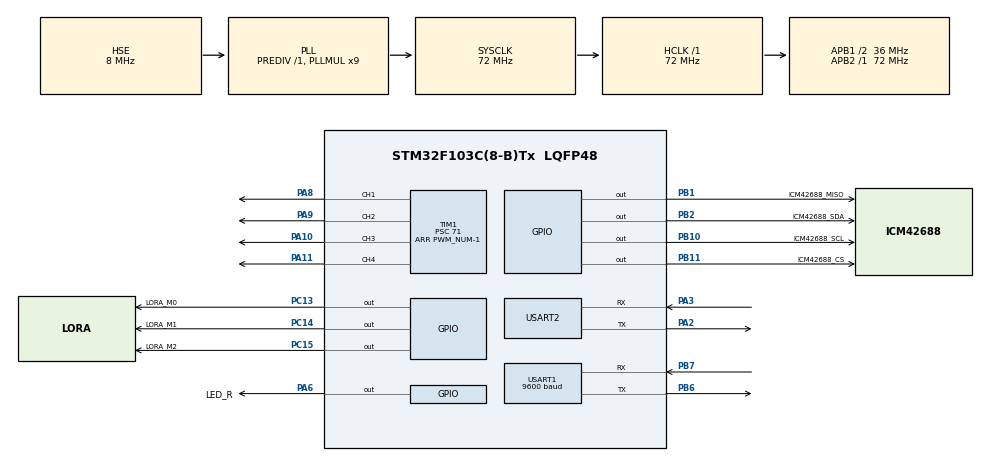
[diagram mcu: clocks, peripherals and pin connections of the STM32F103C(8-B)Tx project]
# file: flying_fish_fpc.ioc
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Dma.Request0=USART1_RX
Dma.USART1_RX.0.Direction=DMA_PERIPH_TO_MEMORY
Dma.USART1_RX.0.Instance=DMA1_Channel5
Dma.USART1_RX.0.MemDataAlignment=DMA_MDATAALIGN_BYTE
Dma.USART1_RX.0.MemInc=DMA_MINC_ENABLE
Dma.USART1_RX.0.Mode=DMA_CIRCULAR
Dma.USART1_RX.0.PeriphDataAlignment=DMA_PDATAALIGN_BYTE
Dma.USART1_RX.0.PeriphInc=DMA_PINC_DISABLE
Dma.USART1_RX.0.Priority=DMA_PRIORITY_MEDIUM
Mcu.Family=STM32F1
Mcu.Name=STM32F103C(8-B)Tx
Mcu.Package=LQFP48
Mcu.UserConstants=PWM_NUM,10000
NVIC.DMA1_Channel5_IRQn=true\:1\:0\:true\:false\:true\:false\:true\:true
NVIC.PriorityGroup=NVIC_PRIORITYGROUP_4
NVIC.TIM2_IRQn=true\:0\:0\:true\:false\:true\:true\:true\:true
NVIC.TIM3_IRQn=true\:2\:0\:true\:false\:true\:true\:true\:true
NVIC.USART1_IRQn=true\:0\:0\:false\:false\:true\:true\:true\:true
NVIC.USART2_IRQn=true\:0\:0\:false\:false\:true\:true\:true\:true
PA10.Signal=S_TIM1_CH3
PA11.Signal=S_TIM1_CH4
PA13.Mode=Serial_Wire
PA13.Signal=SYS_JTMS-SWDIO
PA14.Mode=Serial_Wire
PA14.Signal=SYS_JTCK-SWCLK
PA2.Mode=Asynchronous
PA2.Signal=USART2_TX
PA3.Mode=Asynchronous
PA3.Signal=USART2_RX
PA6.GPIO_Label=LED_R
PA6.Signal=GPIO_Output
PA8.Signal=S_TIM1_CH1
PA9.Signal=S_TIM1_CH2
PB1.GPIO_Label=ICM42688_MISO
PB1.GPIO_PuPd=GPIO_PULLUP
PB1.GPIO_Speed=GPIO_SPEED_FREQ_HIGH
PB1.PinState=GPIO_PIN_SET
PB1.Signal=GPIO_Output
PB10.GPIO_Label=ICM42688_SCL
PB10.GPIO_ModeDefaultOutputPP=GPIO_MODE_OUTPUT_PP
PB10.GPIO_PuPd=GPIO_PULLUP
PB10.GPIO_Speed=GPIO_SPEED_FREQ_HIGH
PB10.PinState=GPIO_PIN_SET
PB10.Signal=GPIO_Output
PB11.GPIO_Label=ICM42688_CS
PB11.GPIO_ModeDefaultOutputPP=GPIO_MODE_OUTPUT_PP
PB11.GPIO_PuPd=GPIO_PULLUP
PB11.GPIO_Speed=GPIO_SPEED_FREQ_HIGH
PB11.PinState=GPIO_PIN_SET
PB11.Signal=GPIO_Output
PB2.GPIO_Label=ICM42688_SDA
PB2.GPIO_PuPd=GPIO_PULLUP
PB2.GPIO_Speed=GPIO_SPEED_FREQ_HIGH
PB2.PinState=GPIO_PIN_SET
PB2.Signal=GPIO_Output
PB6.Mode=Asynchronous
PB6.Signal=USART1_TX
PB7.Mode=Asynchronous
PB7.Signal=USART1_RX
PC13-TAMPER-RTC.GPIO_Label=LORA_M0
PC13-TAMPER-RTC.Signal=GPIO_Output
PC14-OSC32_IN.GPIO_Label=LORA_M1
PC14-OSC32_IN.Signal=GPIO_Output
PC15-OSC32_OUT.GPIO_Label=LORA_M2
PC15-OSC32_OUT.Signal=GPIO_Output
PD0-OSC_IN.Mode=HSE-External-Oscillator
PD0-OSC_IN.Signal=RCC_OSC_IN
PD1-OSC_OUT.Mode=HSE-External-Oscillator
PD1-OSC_OUT.Signal=RCC_OSC_OUT
ProjectManager.HeapSize=0x200
ProjectManager.StackSize=0x400
ProjectManager.TargetToolchain=MDK-ARM V5.32
RCC.AHBFreq_Value=72000000
RCC.APB1CLKDivider=RCC_HCLK_DIV2
RCC.APB1Freq_Value=36000000
RCC.APB1TimFreq_Value=72000000
RCC.APB2Freq_Value=72000000
RCC.APB2TimFreq_Value=72000000
RCC.HCLKFreq_Value=72000000
RCC.PLLMUL=RCC_PLL_MUL9
RCC.PLLSourceVirtual=RCC_PLLSOURCE_HSE
RCC.SYSCLKFreq_VALUE=72000000
RCC.SYSCLKSource=RCC_SYSCLKSOURCE_PLLCLK
RCC.USBFreq_Value=72000000
SH.S_TIM1_CH1.0=TIM1_CH1,PWM Generation1 CH1
SH.S_TIM1_CH2.0=TIM1_CH2,PWM Generation2 CH2
SH.S_TIM1_CH3.0=TIM1_CH3,PWM Generation3 CH3
SH.S_TIM1_CH4.0=TIM1_CH4,PWM Generation4 CH4
TIM1.AutoReloadPreload=TIM_AUTORELOAD_PRELOAD_ENABLE
TIM1.Channel-PWM\ Generation1\ CH1=TIM_CHANNEL_1
TIM1.Channel-PWM\ Generation2\ CH2=TIM_CHANNEL_2
TIM1.Channel-PWM\ Generation3\ CH3=TIM_CHANNEL_3
TIM1.Channel-PWM\ Generation4\ CH4=TIM_CHANNEL_4
TIM1.Period=PWM_NUM-1
TIM1.Prescaler=71
TIM2.AutoReloadPreload=TIM_AUTORELOAD_PRELOAD_ENABLE
TIM2.Channel-PWM\ Generation3\ CH3=TIM_CHANNEL_3
TIM2.Channel-PWM\ Generation4\ CH4=TIM_CHANNEL_4
TIM2.Period=719
TIM2.Prescaler=999
TIM3.AutoReloadPreload=TIM_AUTORELOAD_PRELOAD_ENABLE
TIM3.Period=7199
TIM3.Prescaler=9999
USART1.BaudRate=9600
USART1.VirtualMode=VM_ASYNC
USART2.VirtualMode=VM_ASYNC
VP_TIM1_VS_ClockSourceINT.Mode=Internal
VP_TIM2_VS_ClockSourceINT.Mode=Internal
VP_TIM3_VS_ClockSourceINT.Mode=Internal
board=custom

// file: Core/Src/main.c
/* USER CODE BEGIN Header */
/**
  ******************************************************************************
  * @file           : main.c
  * @brief          : Main program body
  ******************************************************************************
  * @attention
  *
  * <h2><center>&copy; Copyright (c) 2024 STMicroelectronics.
  * All rights reserved.</center></h2>
  *
  * This software component is licensed by ST under BSD 3-Clause license,
  * the "License"; You may not use this file except in compliance with the
  * License. You may obtain a copy of the License at:
  *                        opensource.org/licenses/BSD-3-Clause
  *
  ******************************************************************************
  */
/* USER CODE END Header */
#include "main.h"
#include "dma.h"
#include "tim.h"
#include "usart.h"
#include "gpio.h"

/* USER CODE BEGIN Includes */
#include "lora.h"
#include "icm_42688.h"
#include "kernal.h"
/* USER CODE END Includes */

/* USER CODE BEGIN PV */
union u82int conv1;
union u82int conv2;
union u82int conv3;
union u82int conv4;

union u82float con1;
union u82float con2;
union u82float con3;
union u82float con4;

uint8_t txbuff[16];
uint8_t rxbuff[18];

int count_rx = 0;
/* USER CODE END PV */

void SystemClock_Config(void);

int main(void)
{

  /* MCU Configuration--------------------------------------------------------*/

  /* Reset of all peripherals, Initializes the Flash interface and the Systick. */
  HAL_Init();

  /* Configure the system clock */
  SystemClock_Config();

  /* USER CODE BEGIN SysInit */
	MX_DMA_Init();//put it before the MX_USART1_UART_Init
  /* USER CODE END SysInit */

  /* Initialize all configured peripherals */
  MX_GPIO_Init();
  MX_DMA_Init();
  MX_TIM1_Init();
  MX_USART1_UART_Init();
  MX_TIM2_Init();
  MX_TIM3_Init();
  MX_USART2_UART_Init();
  /* USER CODE BEGIN 2 */
	E70_433MT14S_init();
	icm42688_init();

	HAL_TIM_Base_Start_IT(&htim2);
	HAL_TIM_Base_Start_IT(&htim3);
	HAL_TIM_PWM_Start(&htim1, TIM_CHANNEL_1);
	HAL_TIM_PWM_Start(&htim1, TIM_CHANNEL_2);
	HAL_TIM_PWM_Start(&htim1, TIM_CHANNEL_3);
	HAL_TIM_PWM_Start(&htim1, TIM_CHANNEL_4);
	HAL_TIM_PWM_Start(&htim2, TIM_CHANNEL_3);
	HAL_TIM_PWM_Start(&htim2, TIM_CHANNEL_4);

	//HAL_UART_Receive_DMA(&huart1, RxBuffer_1, E70_433MT14S.type == short_data ? lora_LENGTH_short : lora_LENGTH);
	HAL_UART_Receive_IT(&huart1, &aRxBuffer_1, 1);
	HAL_UART_Receive_IT(&huart2, &aRxBuffer_2, 1);

	conv1.to_int = 258;
	conv2.to_int = 772;
	conv3.to_int = 1286;
	conv4.to_int = 1800;

	con1.to_float = 0.025;
	con2.to_float = 0.035;
	con3.to_float = 0.045;
	con4.to_float = 0.069;

//	txbuff[0] = 0x55;
//	txbuff[1] = conv1.buf[0];
//	txbuff[2] = conv1.buf[1];
//	txbuff[3] = conv2.buf[0];
//	txbuff[4] = conv2.buf[1];
//	txbuff[5] = conv3.buf[0];
//	txbuff[6] = conv3.buf[1];
//	txbuff[7] = conv4.buf[0];
//	txbuff[8] = conv4.buf[1];
//	txbuff[9] = 0x77;

//	txbuff[0] = con1.buf[0];
//	txbuff[1] = con1.buf[1];
//	txbuff[2] = con1.buf[2];
//	txbuff[3] = con1.buf[3];
//	txbuff[4] = con2.buf[0];
//	txbuff[5] = con2.buf[1];
//	txbuff[6] = con2.buf[2];
//	txbuff[7] = con2.buf[3];
//	txbuff[8] = con3.buf[0];
//	txbuff[9] = con3.buf[1];
//	txbuff[10] = con3.buf[2];
//	txbuff[11] = con3.buf[3];
//	txbuff[12] = con4.buf[0];
//	txbuff[13] = con4.buf[1];
//	txbuff[14] = con4.buf[2];
//	txbuff[15] = con4.buf[3];
//
//
//	rxbuff[0] = 0x55;

	uint16_t datasize = sizeof(txbuff) / sizeof(txbuff[0]);

#ifdef SERIAL_HELPER
	stop_all_IT();
#endif
  /* USER CODE END 2 */

  /* Infinite loop */
  while (1)
  {

    /* USER CODE BEGIN 3 */
		//HAL_UART_Transmit(&huart2,txbuff,datasize,0xff);
		//HAL_UART_Transmit(&huart2,&rxbuff[0],1,0xff);
		//HAL_Delay(5000);
  }
  /* USER CODE END 3 */
}

void SystemClock_Config(void)
{
  RCC_OscInitTypeDef RCC_OscInitStruct = {0};
  RCC_ClkInitTypeDef RCC_ClkInitStruct = {0};

  /** Initializes the RCC Oscillators according to the specified parameters
  * in the RCC_OscInitTypeDef structure.
  */
  RCC_OscInitStruct.OscillatorType = RCC_OSCILLATORTYPE_HSE;
  RCC_OscInitStruct.HSEState = RCC_HSE_ON;
  RCC_OscInitStruct.HSEPredivValue = RCC_HSE_PREDIV_DIV1;
  RCC_OscInitStruct.HSIState = RCC_HSI_ON;
  RCC_OscInitStruct.PLL.PLLState = RCC_PLL_ON;
  RCC_OscInitStruct.PLL.PLLSource = RCC_PLLSOURCE_HSE;
  RCC_OscInitStruct.PLL.PLLMUL = RCC_PLL_MUL9;
  if (HAL_RCC_OscConfig(&RCC_OscInitStruct) != HAL_OK)
  {
    Error_Handler();
  }
  /** Initializes the CPU, AHB and APB buses clocks
  */
  RCC_ClkInitStruct.ClockType = RCC_CLOCKTYPE_HCLK|RCC_CLOCKTYPE_SYSCLK
                              |RCC_CLOCKTYPE_PCLK1|RCC_CLOCKTYPE_PCLK2;
  RCC_ClkInitStruct.SYSCLKSource = RCC_SYSCLKSOURCE_PLLCLK;
  RCC_ClkInitStruct.AHBCLKDivider = RCC_SYSCLK_DIV1;
  RCC_ClkInitStruct.APB1CLKDivider = RCC_HCLK_DIV2;
  RCC_ClkInitStruct.APB2CLKDivider = RCC_HCLK_DIV1;

  if (HAL_RCC_ClockConfig(&RCC_ClkInitStruct, FLASH_LATENCY_2) != HAL_OK)
  {
    Error_Handler();
  }
}

void Error_Handler(void)
{
  __disable_irq();
  while (1)
  {
  }
}

/************************ (C) COPYRIGHT STMicroelectronics *****END OF FILE****/
